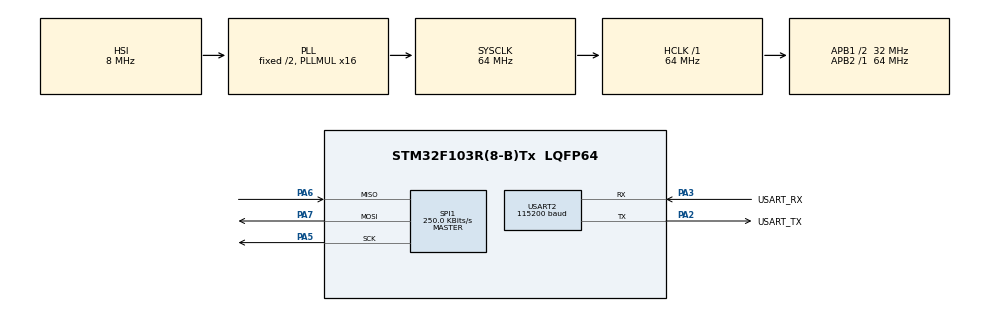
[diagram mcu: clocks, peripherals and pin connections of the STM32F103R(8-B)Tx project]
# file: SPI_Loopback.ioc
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Mcu.Family=STM32F1
Mcu.Name=STM32F103R(8-B)Tx
Mcu.Package=LQFP64
NVIC.PriorityGroup=NVIC_PRIORITYGROUP_4
PA13.GPIO_Label=TMS
PA13.Mode=Serial_Wire
PA13.Signal=SYS_JTMS-SWDIO
PA14.GPIO_Label=TCK
PA14.Mode=Serial_Wire
PA14.Signal=SYS_JTCK-SWCLK
PA2.GPIO_Label=USART_TX
PA2.GPIO_Mode=GPIO_MODE_AF_PP
PA2.GPIO_PuPd=GPIO_NOPULL
PA2.GPIO_Speed=GPIO_SPEED_FREQ_LOW
PA2.Mode=Asynchronous
PA2.Signal=USART2_TX
PA3.GPIO_Label=USART_RX
PA3.GPIO_PuPd=GPIO_NOPULL
PA3.GPIO_Speed=GPIO_SPEED_FREQ_LOW
PA3.Mode=Asynchronous
PA3.Signal=USART2_RX
PA5.GPIO_Speed=GPIO_SPEED_FREQ_HIGH
PA5.Mode=Full_Duplex_Master
PA5.Signal=SPI1_SCK
PA6.Mode=Full_Duplex_Master
PA6.Signal=SPI1_MISO
PA7.GPIO_Speed=GPIO_SPEED_FREQ_HIGH
PA7.Mode=Full_Duplex_Master
PA7.Signal=SPI1_MOSI
PB3.GPIO_Label=SWO
PB3.Signal=SYS_JTDO-TRACESWO
PC14-OSC32_IN.Mode=LSE-External-Oscillator
PC14-OSC32_IN.Signal=RCC_OSC32_IN
PC15-OSC32_OUT.Mode=LSE-External-Oscillator
PC15-OSC32_OUT.Signal=RCC_OSC32_OUT
PD0-OSC_IN.Mode=HSE-External-Clock-Source
PD0-OSC_IN.Signal=RCC_OSC_IN
PD1-OSC_OUT.Mode=HSE-External-Clock-Source
PD1-OSC_OUT.Signal=RCC_OSC_OUT
ProjectManager.HeapSize=0x200
ProjectManager.StackSize=0x400
ProjectManager.TargetToolchain=STM32CubeIDE
RCC.AHBFreq_Value=64000000
RCC.APB1CLKDivider=RCC_HCLK_DIV2
RCC.APB1Freq_Value=32000000
RCC.APB1TimFreq_Value=64000000
RCC.APB2Freq_Value=64000000
RCC.APB2TimFreq_Value=64000000
RCC.HCLKFreq_Value=64000000
RCC.PLLMUL=RCC_PLL_MUL16
RCC.RTCClockSelection=RCC_RTCCLKSOURCE_LSE
RCC.SYSCLKFreq_VALUE=64000000
RCC.SYSCLKSource=RCC_SYSCLKSOURCE_PLLCLK
RCC.USBFreq_Value=64000000
SPI1.BaudRatePrescaler=SPI_BAUDRATEPRESCALER_256
SPI1.CalculateBaudRate=250.0 KBits/s
SPI1.Direction=SPI_DIRECTION_2LINES
SPI1.Mode=SPI_MODE_MASTER
SPI1.VirtualType=VM_MASTER
USART2.BaudRate=115200
USART2.VirtualMode=VM_ASYNC
board=NUCLEO-F103RB

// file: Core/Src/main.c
/* USER CODE BEGIN Header */
/**
 ******************************************************************************
 * @file           : main.c
 * @brief          : Main program body
 ******************************************************************************
 * @attention
 *
 * Copyright (c) 2026 STMicroelectronics.
 * All rights reserved.
 *
 * This software is licensed under terms that can be found in the LICENSE file
 * in the root directory of this software component.
 * If no LICENSE file comes with this software, it is provided AS-IS.
 *
 ******************************************************************************
 */
/**
 * 01_SPI_Loopback_HAL_c  —  [계층: HAL]  SPI1 마스터 루프백 + 클럭 분주별 전송 속도 측정
 *
 * 배선: PA7 (MOSI, 'D11') ---- 점퍼선 ---- PA6 (MISO, 'D12')     (슬레이브 장치 없이 마스터만으로 시험)
 *       SCK = PA5 ('D13') 은 온보드 LD2 와 같은 핀이라 전송 중 LED 가 흐릿하게 켜진다(정상).
 *
 * 동작
 *   - 256바이트 패턴을 SPI 로 송신하면서 동시에 수신(전이중)하고, 송신 == 수신인지 비교해 PASS/FAIL 출력.
 *   - 분주비 /256, /64, /16, /4 로 바꿔 가며 전송 시간을 DWT 사이클로 재고 실제 비트율을 출력.
 *   - PA7-PA6 점퍼를 빼면 수신이 전부 0x00/0xFF 가 되어 FAIL 이 나온다 (음성 대조).
 *
 * SPI 설정 (RM0008 25장)
 *   SPI1 클럭 = APB2 = 64MHz.  SPI1->CR1.BR[2:0] : /2 ~ /256.   /64 -> 1MHz, /4 -> 16MHz
 *   CR1.MSTR=1(마스터), CR1.CPOL=0 / CPHA=0 (모드 0: 유휴 Low, 첫 에지에서 샘플), 8비트, MSB 먼저
 *   CR1.SSM=1, SSI=1 (NSS 를 소프트웨어로 관리)
 *   전이중 1바이트: DR 에 쓰면 송신 시프트 시작 -> 같은 클럭에 수신 -> SR.RXNE 후 DR 읽기
 *
 * 인터럽트/DMA 를 사용하지 않는다 (HAL_SPI_TransmitReceive 폴링). DMA 버전은 02_SPI_DMA_Fullduplex 참고.
 */
/* USER CODE END Header */
#include "main.h"

/* USER CODE BEGIN Includes */
#include <stdio.h>
#include <string.h>
/* USER CODE END Includes */

/* USER CODE BEGIN PD */
#define LEN 256

/* USER CODE END PD */

SPI_HandleTypeDef hspi1;
UART_HandleTypeDef huart2;

/* USER CODE BEGIN PV */
static uint8_t tx[LEN], rx[LEN];
/* USER CODE END PV */

void SystemClock_Config(void);
static void MX_GPIO_Init(void);
static void MX_SPI1_Init(void);
static void MX_USART2_UART_Init(void);
/* USER CODE BEGIN PFP */
static void SPI1_Reinit(uint32_t prescaler);

/* USER CODE END PFP */

int main(void)
{

  /* MCU Configuration--------------------------------------------------------*/

  /* Reset of all peripherals, Initializes the Flash interface and the Systick. */
  HAL_Init();

  /* Configure the system clock */
  SystemClock_Config();

  /* Initialize all configured peripherals */
  MX_GPIO_Init();
  MX_SPI1_Init();
  MX_USART2_UART_Init();
  /* USER CODE BEGIN 2 */
  CoreDebug->DEMCR |= CoreDebug_DEMCR_TRCENA_Msk;         /* DWT 사이클 카운터 켜기 */
  DWT->CYCCNT = 0;
  DWT->CTRL |= DWT_CTRL_CYCCNTENA_Msk;

  for (int i = 0; i < LEN; i++) tx[i] = (uint8_t)(i * 7 + 3);

  static const struct { uint32_t reg; uint32_t div; } cfg[] = {
      { SPI_BAUDRATEPRESCALER_256, 256 }, { SPI_BAUDRATEPRESCALER_64, 64 },
      { SPI_BAUDRATEPRESCALER_16, 16 },   { SPI_BAUDRATEPRESCALER_4, 4 },
  };

  char msg[112];
  /* USER CODE END 2 */

  /* Infinite loop */
  while (1)
  {

    /* USER CODE BEGIN 3 */
    for (unsigned k = 0; k < sizeof cfg / sizeof cfg[0]; k++)
    {
        SPI1_Reinit(cfg[k].reg);        /* 분주비 변경 후 SPI1 재초기화 */
        memset(rx, 0, sizeof rx);

        uint32_t t0 = DWT->CYCCNT;
        HAL_StatusTypeDef st = HAL_SPI_TransmitReceive(&hspi1, tx, rx, LEN, 100);
        uint32_t cyc = DWT->CYCCNT - t0;

        int ok = (st == HAL_OK) && (memcmp(tx, rx, LEN) == 0);
        uint32_t bits = LEN * 8U;
        uint32_t kbps = (uint32_t)(((uint64_t)bits * 64000ULL) / cyc);   /* bit / (cyc/64MHz) 를 kbit/s 로 */
        int n = snprintf(msg, sizeof msg, "/%-3lu SCK=%5lu kHz(설정)  측정=%5lu kbit/s (오버헤드 포함)  %s\r\n",
                         (unsigned long)cfg[k].div, (unsigned long)(64000UL / cfg[k].div),
                         (unsigned long)kbps, ok ? "PASS" : "FAIL");
        HAL_UART_Transmit(&huart2, (uint8_t *)msg, (uint16_t)n, 200);
    }
    HAL_UART_Transmit(&huart2, (uint8_t *)"----\r\n", 6, 100);
    HAL_Delay(2000);
  }
  /* USER CODE END 3 */
}

void SystemClock_Config(void)
{
  RCC_OscInitTypeDef RCC_OscInitStruct = {0};
  RCC_ClkInitTypeDef RCC_ClkInitStruct = {0};

  /** Initializes the RCC Oscillators according to the specified parameters
  * in the RCC_OscInitTypeDef structure.
  */
  RCC_OscInitStruct.OscillatorType = RCC_OSCILLATORTYPE_HSI;
  RCC_OscInitStruct.HSIState = RCC_HSI_ON;
  RCC_OscInitStruct.HSICalibrationValue = RCC_HSICALIBRATION_DEFAULT;
  RCC_OscInitStruct.PLL.PLLState = RCC_PLL_ON;
  RCC_OscInitStruct.PLL.PLLSource = RCC_PLLSOURCE_HSI_DIV2;
  RCC_OscInitStruct.PLL.PLLMUL = RCC_PLL_MUL16;
  if (HAL_RCC_OscConfig(&RCC_OscInitStruct) != HAL_OK)
  {
    Error_Handler();
  }

  /** Initializes the CPU, AHB and APB buses clocks
  */
  RCC_ClkInitStruct.ClockType = RCC_CLOCKTYPE_HCLK|RCC_CLOCKTYPE_SYSCLK
                              |RCC_CLOCKTYPE_PCLK1|RCC_CLOCKTYPE_PCLK2;
  RCC_ClkInitStruct.SYSCLKSource = RCC_SYSCLKSOURCE_PLLCLK;
  RCC_ClkInitStruct.AHBCLKDivider = RCC_SYSCLK_DIV1;
  RCC_ClkInitStruct.APB1CLKDivider = RCC_HCLK_DIV2;
  RCC_ClkInitStruct.APB2CLKDivider = RCC_HCLK_DIV1;

  if (HAL_RCC_ClockConfig(&RCC_ClkInitStruct, FLASH_LATENCY_2) != HAL_OK)
  {
    Error_Handler();
  }
}

static void MX_SPI1_Init(void)
{

  /* SPI1 parameter configuration*/
  hspi1.Instance = SPI1;
  hspi1.Init.Mode = SPI_MODE_MASTER;
  hspi1.Init.Direction = SPI_DIRECTION_2LINES;
  hspi1.Init.DataSize = SPI_DATASIZE_8BIT;
  hspi1.Init.CLKPolarity = SPI_POLARITY_LOW;
  hspi1.Init.CLKPhase = SPI_PHASE_1EDGE;
  hspi1.Init.NSS = SPI_NSS_SOFT;
  hspi1.Init.BaudRatePrescaler = SPI_BAUDRATEPRESCALER_256;
  hspi1.Init.FirstBit = SPI_FIRSTBIT_MSB;
  hspi1.Init.TIMode = SPI_TIMODE_DISABLE;
  hspi1.Init.CRCCalculation = SPI_CRCCALCULATION_DISABLE;
  hspi1.Init.CRCPolynomial = 10;
  if (HAL_SPI_Init(&hspi1) != HAL_OK)
  {
    Error_Handler();
  }

}

static void MX_USART2_UART_Init(void)
{

  huart2.Instance = USART2;
  huart2.Init.BaudRate = 115200;
  huart2.Init.WordLength = UART_WORDLENGTH_8B;
  huart2.Init.StopBits = UART_STOPBITS_1;
  huart2.Init.Parity = UART_PARITY_NONE;
  huart2.Init.Mode = UART_MODE_TX_RX;
  huart2.Init.HwFlowCtl = UART_HWCONTROL_NONE;
  huart2.Init.OverSampling = UART_OVERSAMPLING_16;
  if (HAL_UART_Init(&huart2) != HAL_OK)
  {
    Error_Handler();
  }

}

static void MX_GPIO_Init(void)
{

  /* GPIO Ports Clock Enable */
  __HAL_RCC_GPIOC_CLK_ENABLE();
  __HAL_RCC_GPIOD_CLK_ENABLE();
  __HAL_RCC_GPIOA_CLK_ENABLE();
  __HAL_RCC_GPIOB_CLK_ENABLE();

}

/* USER CODE BEGIN 4 */
/* SPI1 분주비 변경: HAL_SPI_DeInit(MspDeInit: SPI1EN/핀 해제) -> BR 변경 -> HAL_SPI_Init(MspInit 재실행)
 * SPI1->CR1.BR[2:0] 은 SPE=0 상태에서만 바꿀 수 있으므로 HAL 이 SPE 를 끄고 다시 쓴다.
 * MX_SPI1_Init() 은 CubeMX 가 생성하는 고정값 초기화라, 런타임 변경용 함수를 USER CODE 에 따로 둔다. */
static void SPI1_Reinit(uint32_t prescaler)
{
  if (hspi1.State != HAL_SPI_STATE_RESET) HAL_SPI_DeInit(&hspi1);
  hspi1.Init.BaudRatePrescaler = prescaler;               /* CR1.BR[2:0] */
  if (HAL_SPI_Init(&hspi1) != HAL_OK) Error_Handler();
}
/* USER CODE END 4 */

void Error_Handler(void)
{
  __disable_irq();
  while (1) {
  }
}
#ifdef USE_FULL_ASSERT
/**
  * @brief  Reports the name of the source file and the source line number
  *         where the assert_param error has occurred.
  * @param  file: pointer to the source file name
  * @param  line: assert_param error line source number
  * @retval None
  */
void assert_failed(uint8_t *file, uint32_t line)
{
  /* USER CODE BEGIN 6 */
  /* User can add his own implementation to report the file name and line
     number, ex: printf("Wrong parameters value: file %s on line %d\r\n", file,
     line) */
  /* USER CODE END 6 */
}
#endif /* USE_FULL_ASSERT */
